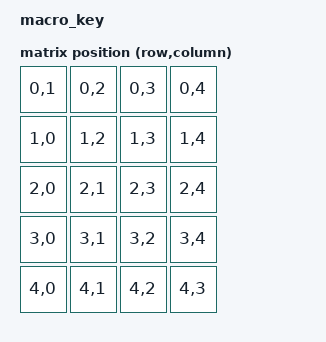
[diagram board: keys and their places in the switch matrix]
/*
 * Copyright (c) 2021 The ZMK Contributors
 *
 * SPDX-License-Identifier: MIT
 */

/dts-v1/;

#include <nordic/nrf52840_qiaa.dtsi>
#include <dt-bindings/zmk/matrix_transform.h>
#include <physical_layouts.dtsi>
#include "macro_key-pinctrl.dtsi"

/ {
	model = "macro_key";
	compatible = "macro_key";

	chosen {
		zephyr,code-partition = &code_partition;
		zephyr,sram = &sram0;
		zephyr,flash = &flash0;
        zmk,battery = &vbatt;
		zmk,physical-layout = &physical_layout0;
	};

	vbatt: vbatt {
		compatible = "zmk,battery-voltage-divider";
		label = "BATTERY";
		io-channels = <&adc 2>;
		output-ohms = <2000000>;
		full-ohms = <(2000000 + 820000)>;
	};

    physical_layout0: physical_layout_0 {
        compatible = "zmk,physical-layout";
        display-name = "Default Layout";
    	kscan = <&kscan0>; 
    	transform = <&default_transform>;

        keys  //                     w   h    x    y     rot    rx    ry
            = <&key_physical_attrs 100 100    0    0       0     0     0>
            , <&key_physical_attrs 100 100  100    0       0     0     0>
            , <&key_physical_attrs 100 100  200    0       0     0     0>
            , <&key_physical_attrs 100 100  300    0       0     0     0>
            , <&key_physical_attrs 100 100    0  100       0     0     0>
            , <&key_physical_attrs 100 100  100  100       0     0     0>
            , <&key_physical_attrs 100 100  200  100       0     0     0>
            , <&key_physical_attrs 100 100  300  100       0     0     0>
            , <&key_physical_attrs 100 100    0  200       0     0     0>
            , <&key_physical_attrs 100 100  100  200       0     0     0>
            , <&key_physical_attrs 100 100  200  200       0     0     0>
            , <&key_physical_attrs 100 100  300  200       0     0     0>
            , <&key_physical_attrs 100 100    0  300       0     0     0>
            , <&key_physical_attrs 100 100  100  300       0     0     0>
            , <&key_physical_attrs 100 100  200  300       0     0     0>
            , <&key_physical_attrs 100 100  300  300       0     0     0>
            , <&key_physical_attrs 100 100    0  400       0     0     0>
            , <&key_physical_attrs 100 100  100  400       0     0     0>
            , <&key_physical_attrs 100 100  200  400       0     0     0>
            , <&key_physical_attrs 100 100  300  400       0     0     0>
            ;
    };

	kscan0: kscan {
        compatible = "zmk,kscan-gpio-charlieplex";
        wakeup-source;
        //interrupt-gpios = <&gpio0 12 (GPIO_ACTIVE_HIGH | GPIO_PULL_DOWN) >;
        gpios
          = <&gpio0 26 GPIO_ACTIVE_HIGH>
          , <&gpio0 2 GPIO_ACTIVE_HIGH>
          , <&gpio1 15 GPIO_ACTIVE_HIGH>
          , <&gpio1 13 GPIO_ACTIVE_HIGH>
          , <&gpio0 13 GPIO_ACTIVE_HIGH>
          ; 
    };

    default_transform: matrix_transform {
        compatible = "zmk,matrix-transform";
        rows = <5>;
        columns = <5>;
        map = <
            RC(0,1) RC(0,2) RC(0,3) RC(0,4)
        	RC(1,0) RC(1,2) RC(1,3) RC(1,4)
            RC(2,0) RC(2,1) RC(2,3) RC(2,4) 
			RC(3,0) RC(3,1) RC(3,2) RC(3,4) 
			RC(4,0) RC(4,1) RC(4,2) RC(4,3) 
        >;
    };
};


&adc {
	status = "okay";
};

&gpiote {
	status = "okay";
};

&gpio0 {
	status = "okay";
};

&gpio1 {
	status = "okay";
};


&i2c0 {
    compatible = "nordic,nrf-twi";
};


nice_view_spi: &spi1 {
	status = "okay";
    pinctrl-0 = <&spi1_default>;
    pinctrl-1 = <&spi1_sleep>;
    pinctrl-names = "default", "sleep";
	cs-gpios = <&gpio1 9 GPIO_ACTIVE_LOW>;
};

&uart0 {
    compatible = "nordic,nrf-uarte";
};


zephyr_udc0: &usbd {
    status = "okay";
};

&flash0 {
	/*
	 * For more information, see:
	 * http://docs.zephyrproject.org/latest/devices/dts/flash_partitions.html
	 */
	partitions {
		compatible = "fixed-partitions";
		#address-cells = <1>;
		#size-cells = <1>;

		sd_partition: partition@0 {
			label = "softdevice";
			reg = <0x00000000 0x00026000>;
		};
		code_partition: partition@26000 {
			label = "code_partition";
			reg = <0x00026000 0x000c6000>;
		};

		/*
		 * The flash starting at 0x000ec000 and ending at
		 * 0x000f3fff is reserved for use by the application.
		 */

		/*
		 * Storage partition will be used by FCB/LittleFS/NVS
		 * if enabled.
		 */
		storage_partition: partition@ec000 {
			label = "storage";
			reg = <0x000ec000 0x00008000>;
		};

		boot_partition: partition@f4000 {
			label = "adafruit_boot";
			reg = <0x000f4000 0x0000c000>;
		};
	};
};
